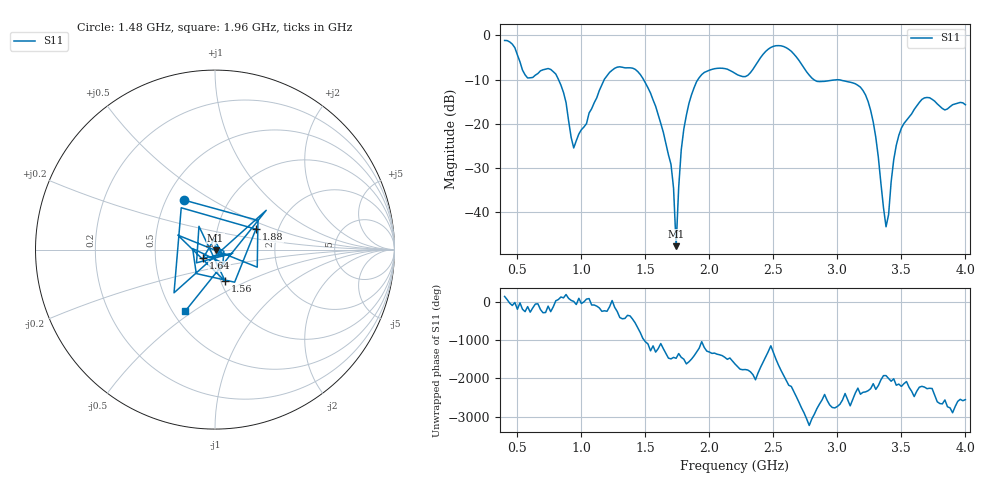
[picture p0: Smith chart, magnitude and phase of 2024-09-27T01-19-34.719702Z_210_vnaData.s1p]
!Created with skrf (http://scikit-rf.org).
# Hz S RI R 50.0
!freq ReS11 ImS11
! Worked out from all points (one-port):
!   181 points, 400 MHz to 4 GHz, reference 50 ohm
!   lowest |S11| = -47.7 dB at 1.74 GHz (marker M1), VSWR 1.01, Z = 50.3 - j0.248 ohm
!   |S11| at or under -10 dB: 820.9 MHz to 1.179 GHz (357.8 MHz wide, 35.8 % of centre); 1.485 GHz to 1.911 GHz (425.5 MHz wide, 25.1 % of centre); 2.815 GHz to end of sweep
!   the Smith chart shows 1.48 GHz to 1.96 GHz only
!   S11 on the Smith chart (normalised r, x): 1.48 GHz: 0.61, +0.38; 1.56 GHz: 1.05, -0.38; 1.64 GHz: 0.87, -0.08; 1.88 GHz: 1.54, +0.37; 1.96 GHz: 0.58, -0.46
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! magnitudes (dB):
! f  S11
! 400 MHz  -1.2
! 580 MHz  -9.6
! 760 MHz  -7.7
! 860 MHz  -12.9
! 940 MHz  -25.5
! 1.18 GHz  -9.9
! 1.3 GHz  -7.1
! 1.48 GHz  -9.7
! 1.56 GHz  -14.6
! 1.64 GHz  -21.9
! 1.7 GHz  -29.2
! 1.72 GHz  -34.6
! 1.74 GHz  -47.7
! 1.76 GHz  -34.4
! 1.8 GHz  -21.2
! 1.88 GHz  -11.9
! 1.96 GHz  -8.4
! 2.2 GHz  -8.6
! 2.5 GHz  -2.5
! 2.66 GHz  -4.2
! 2.84 GHz  -10.4
! 3.1 GHz  -10.6
! 3.26 GHz  -17.0
! 3.38 GHz  -43.3
! 3.46 GHz  -24.9
! 3.56 GHz  -18.5
! 3.68 GHz  -14.2
! 4 GHz  -15.7
